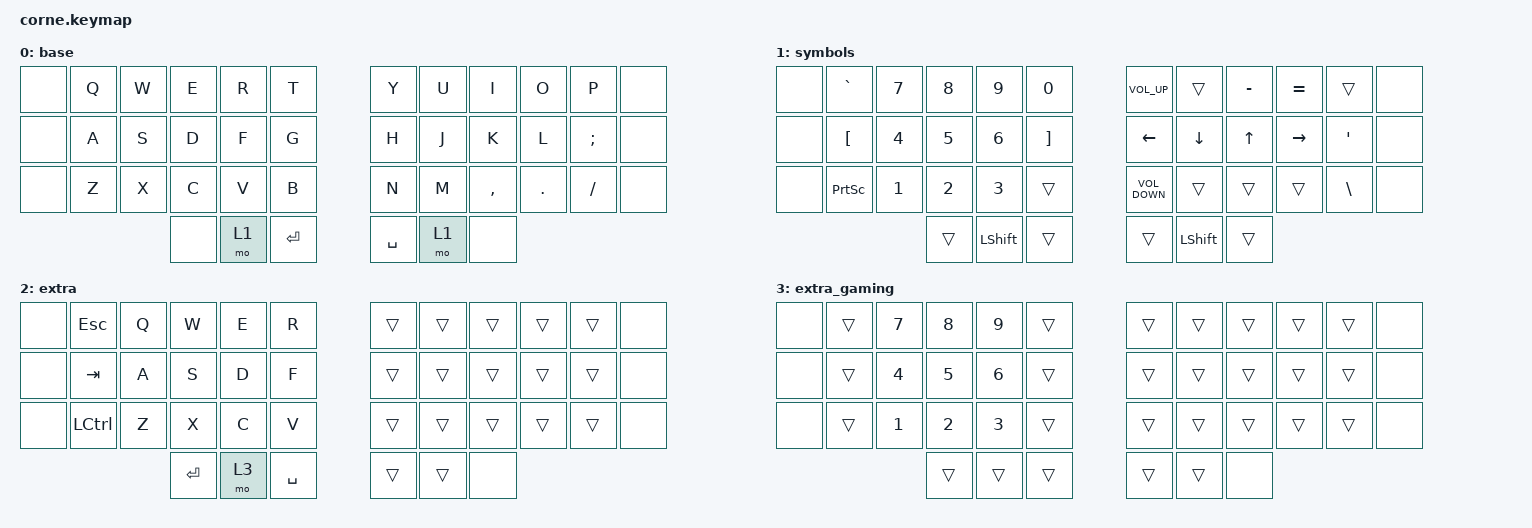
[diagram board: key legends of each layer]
/*
 * Copyright (c) 2020 The ZMK Contributors
 *
 * SPDX-License-Identifier: MIT
 */

#include <behaviors.dtsi>
#include <dt-bindings/zmk/bt.h>
#include <dt-bindings/zmk/keys.h>

&mt {
    tapping-term-ms = <200>;
    quick-tap-ms = <175>;
    require-prior-idle-ms = <150>;
    flavor = "tap-preferred";
};

&lt { tapping-term-ms = <400>; };

&soft_off { hold-time-ms = <2000>; };

/ {
    /* behaviors { */
        /* td_esc_semicolon: td_esc_semicolon { */
            /* compatible = "zmk,behavior-tap-dance"; */
            /* label = "TD_ESC_SEMICOLON"; */
            /* #binding-cells = <0>; */
            /* bindings = <&kp SEMICOLON>, <&kp ESC>; */
        /* }; */

        /* bspc_del: backspace_delete { */
            /* compatible = "zmk,behavior-mod-morph"; */
            /* #binding-cells = <0>; */
            /* bindings = <&kp BACKSPACE>, <&kp DELETE>; */
            /* mods = <(MOD_LSFT|MOD_RSFT)>; */
            /* keep-mods = <(MOD_RSFT)>; */
        /* }; */
    /* }; */

    combos {
        compatible = "zmk,combos";
        timeout-ms = <200>;

        toggle_layer2 {
            bindings = <&tog 2>;
            key-positions = <30 31 32 33>;
        };

        dfjk_caps_lock {
            bindings = <&kp CAPS>;
            key-positions = <16 15 19 20>;
        };

        we_esc {
            bindings = <&kp ESCAPE>;
            key-positions = <3 2>;
        };

        xc_tab {
            bindings = <&kp TAB>;
            key-positions = <26 27>;
        };

        sd_gui {
            bindings = <&kp LEFT_GUI>;
            key-positions = <14 15>;
        };

        df_sft {
            bindings = <&kp LEFT_SHIFT>;
            key-positions = <15 16>;
        };

        sf_ctl {
            bindings = <&kp LCTRL>;
            key-positions = <14 16>;
        };

        sdf_sftgui {
            bindings = <&kp LG(LEFT_SHIFT)>;
            key-positions = <14 15 16>;
        };

        sdv_sftctl {
            bindings = <&kp LC(LEFT_SHIFT)>;
            key-positions = <14 15 28>;
        };

        io_bspc {
            bindings = <&kp BACKSPACE>;
            key-positions = <9 8>;
        };

        ioj_del {
            bindings = <&kp DELETE>;
            key-positions = <32 33>;
        };

        kl_gui {
            bindings = <&kp LEFT_GUI>;
            key-positions = <21 20>;
        };

        jk_sft {
            bindings = <&kp LEFT_SHIFT>;
            key-positions = <19 20>;
        };

        jl_ctl {
            bindings = <&kp LCTRL>;
            key-positions = <19 21>;
        };

        jkl_sftgui {
            bindings = <&kp LG(LEFT_SHIFT)>;
            key-positions = <19 20 21>;
        };

        mkl_sftctl {
            bindings = <&kp LC(LEFT_SHIFT)>;
            key-positions = <31 20 21>;
        };

        qwer_off {
            bindings = <&soft_off>;
            key-positions = <1 3 2 4>;
        };
    };

    conditional_layers { compatible = "zmk,conditional-layers"; };

    keymap {
        compatible = "zmk,keymap";

        // Base Layer (0)

        base {
            bindings = <
&none  &kp Q  &kp W  &kp E  &kp R  &kp T        &kp Y      &kp U  &kp I      &kp O       &kp P          &none
&none  &kp A  &kp S  &kp D  &kp F  &kp G        &kp H      &kp J  &kp K      &kp L       &kp SEMICOLON  &none
&none  &kp Z  &kp X  &kp C  &kp V  &kp B        &kp N      &kp M  &kp COMMA  &kp PERIOD  &kp SLASH      &none
                     &none  &mo 1  &kp ENTER    &kp SPACE  &mo 1  &none
            >;
        };

        // Symbols Layer (1)

        symbols {
            bindings = <
&none  &kp GRAVE        &kp N7  &kp N8  &kp N9    &kp N0        &kp C_VOLUME_UP    &trans        &kp MINUS     &kp EQUAL     &trans            &none
&none  &kp LBKT         &kp N4  &kp N5  &kp N6    &kp RBKT      &kp LEFT           &kp DOWN      &kp UP        &kp RIGHT     &kp SINGLE_QUOTE  &none
&none  &kp PRINTSCREEN  &kp N1  &kp N2  &kp N3    &trans        &kp C_VOLUME_DOWN  &trans        &trans        &trans        &kp BSLH          &none
                                      &trans      &kp LEFT_SHIFT  &trans        &trans    &kp LEFT_SHIFT         &trans
            >;
        };

        // Gaming Layer (2)
        extra {
            bindings = <
&none  &kp ESC         &kp Q  &kp W      &kp E      &kp R        &trans        &trans        &trans        &trans      &trans  &none
&none  &kp TAB         &kp A  &kp S      &kp D      &kp F        &trans        &trans        &trans        &trans      &trans  &none
&none  &kp LCTRL       &kp Z  &kp X      &kp C      &kp V        &trans        &trans        &trans        &trans      &trans  &none
                              &kp ENTER  &mo 3      &kp SPACE        &trans        &trans        &none
            >;
        };

        // Gaming Layer Number and Fn (3)
        extra_gaming {
            bindings = <
&none  &trans       &kp N7  &kp N8  &kp N9   &trans        &trans        &trans        &trans        &trans      &trans  &none
&none  &trans       &kp N4  &kp N5  &kp N6   &trans        &trans        &trans        &trans        &trans      &trans  &none
&none  &trans       &kp N1  &kp N2  &kp N3   &trans        &trans        &trans        &trans        &trans      &trans  &none
                              &trans     &trans     &trans        &trans        &trans        &none
            >;
        };
    };
};

#if defined(CONFIG_BOARD_NICE_NANO_V2) && defined(CONFIG_SHIELD_CORNE_DONGLE)
/* Override i2c_oled defaults for 128x32 display */
&oled {
    height = <32>;
    multiplex-ratio = <31>;
};
#endif
